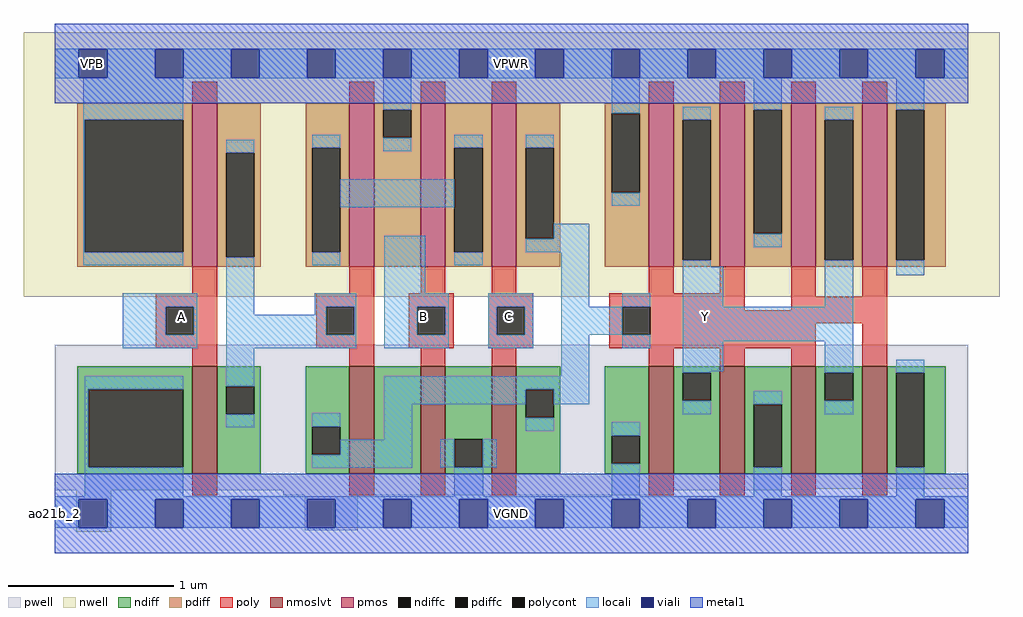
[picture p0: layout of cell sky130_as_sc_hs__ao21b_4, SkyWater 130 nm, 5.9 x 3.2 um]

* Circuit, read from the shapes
.subckt sky130_as_sc_hs__ao21b_4 VNB VPB VPWR VGND A B C Y
XM1 n1 A VGND VNB sky130_fd_pr__nfet_01v8_lvt w=0.65 l=0.15
XM2 n2 n1 n3 VNB sky130_fd_pr__nfet_01v8_lvt w=0.65 l=0.15
XM3 VGND B n2 VNB sky130_fd_pr__nfet_01v8_lvt w=0.65 l=0.15
XM4 n3 C VGND VNB sky130_fd_pr__nfet_01v8_lvt w=0.65 l=0.15
XM5 Y n3 VGND VNB sky130_fd_pr__nfet_01v8_lvt w=0.65 l=0.15 m=4
XM6 n1 A VPWR VPB sky130_fd_pr__pfet_01v8 w=0.99 l=0.15
XM7 VPWR n1 n4 VPB sky130_fd_pr__pfet_01v8 w=0.99 l=0.15
XM8 n4 B VPWR VPB sky130_fd_pr__pfet_01v8 w=0.99 l=0.15
XM9 n3 C n4 VPB sky130_fd_pr__pfet_01v8 w=0.99 l=0.15
XM10 Y n3 VPWR VPB sky130_fd_pr__pfet_01v8 w=0.99 l=0.15 m=4
.ends

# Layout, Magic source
magic
tech sky130A
magscale 1 2
<< nwell >>
rect -38 262 1142 582
<< pwell >>
rect 0 30 1104 204
rect 0 28 920 30
rect 26 -22 68 28
rect 276 22 736 28
rect 302 -20 366 22
<< pmos >>
rect 166 298 196 496
rect 356 298 386 496
rect 442 298 472 496
rect 528 298 558 496
rect 718 298 748 496
rect 804 298 834 496
rect 890 298 920 496
rect 976 298 1006 496
<< nmoslvt >>
rect 166 48 196 178
rect 356 48 386 178
rect 442 48 472 178
rect 528 48 558 178
rect 718 48 748 178
rect 804 48 834 178
rect 890 48 920 178
rect 976 48 1006 178
<< ndiff >>
rect 27 150 166 178
rect 27 56 40 150
rect 155 56 166 150
rect 27 48 166 56
rect 196 154 249 178
rect 196 120 207 154
rect 241 120 249 154
rect 196 48 249 120
rect 303 105 356 178
rect 303 71 311 105
rect 345 71 356 105
rect 303 48 356 71
rect 386 48 442 178
rect 472 90 528 178
rect 472 56 483 90
rect 517 56 528 90
rect 472 48 528 56
rect 558 150 611 178
rect 558 116 569 150
rect 603 116 611 150
rect 558 48 611 116
rect 665 94 718 178
rect 665 60 673 94
rect 707 60 718 94
rect 665 48 718 60
rect 748 170 804 178
rect 748 136 759 170
rect 793 136 804 170
rect 748 48 804 136
rect 834 132 890 178
rect 834 56 845 132
rect 879 56 890 132
rect 834 48 890 56
rect 920 170 976 178
rect 920 136 931 170
rect 965 136 976 170
rect 920 48 976 136
rect 1006 170 1077 178
rect 1006 56 1017 170
rect 1051 56 1077 170
rect 1006 48 1077 56
<< pdiff >>
rect 27 476 166 496
rect 27 316 36 476
rect 155 316 166 476
rect 27 298 166 316
rect 196 436 249 496
rect 196 310 207 436
rect 241 310 249 436
rect 196 298 249 310
rect 303 442 356 496
rect 303 316 311 442
rect 345 316 356 442
rect 303 298 356 316
rect 386 488 442 496
rect 386 454 397 488
rect 431 454 442 488
rect 386 298 442 454
rect 472 442 528 496
rect 472 316 483 442
rect 517 316 528 442
rect 472 298 528 316
rect 558 442 611 496
rect 558 332 569 442
rect 603 332 611 442
rect 558 298 611 332
rect 665 484 718 496
rect 665 388 673 484
rect 707 388 718 484
rect 665 298 718 388
rect 748 476 804 496
rect 748 306 759 476
rect 793 306 804 476
rect 748 298 804 306
rect 834 488 890 496
rect 834 338 845 488
rect 879 338 890 488
rect 834 298 890 338
rect 920 476 976 496
rect 920 306 931 476
rect 965 306 976 476
rect 920 298 976 306
rect 1006 488 1077 496
rect 1006 306 1017 488
rect 1051 306 1077 488
rect 1006 298 1077 306
<< ndiffc >>
rect 40 56 155 150
rect 207 120 241 154
rect 311 71 345 105
rect 483 56 517 90
rect 569 116 603 150
rect 673 60 707 94
rect 759 136 793 170
rect 845 56 879 132
rect 931 136 965 170
rect 1017 56 1051 170
<< pdiffc >>
rect 36 316 155 476
rect 207 310 241 436
rect 311 316 345 442
rect 397 454 431 488
rect 483 316 517 442
rect 569 332 603 442
rect 673 388 707 484
rect 759 306 793 476
rect 845 338 879 488
rect 931 306 965 476
rect 1017 306 1051 488
<< poly >>
rect 166 496 196 522
rect 356 496 386 522
rect 442 496 472 522
rect 528 496 558 522
rect 718 496 748 522
rect 804 496 834 522
rect 890 496 920 522
rect 976 496 1006 522
rect 166 266 196 298
rect 356 266 386 298
rect 442 266 472 298
rect 528 266 558 298
rect 718 266 748 298
rect 804 266 834 298
rect 122 250 196 266
rect 122 216 134 250
rect 168 216 196 250
rect 122 200 196 216
rect 316 250 386 266
rect 316 216 328 250
rect 362 216 386 250
rect 316 200 386 216
rect 428 250 482 266
rect 428 216 438 250
rect 472 216 482 250
rect 428 200 482 216
rect 524 250 578 266
rect 524 216 534 250
rect 568 216 578 250
rect 524 200 578 216
rect 670 250 834 266
rect 670 216 686 250
rect 720 246 834 250
rect 890 262 920 298
rect 976 262 1006 298
rect 890 246 1006 262
rect 720 230 1006 246
rect 720 216 920 230
rect 670 200 920 216
rect 166 178 196 200
rect 356 178 386 200
rect 442 178 472 200
rect 528 178 558 200
rect 718 178 748 200
rect 804 178 834 200
rect 890 178 920 200
rect 976 178 1006 230
rect 166 22 196 48
rect 356 22 386 48
rect 442 22 472 48
rect 528 22 558 48
rect 718 22 748 48
rect 804 22 834 48
rect 890 22 920 48
rect 976 22 1006 48
<< polycont >>
rect 134 216 168 250
rect 328 216 362 250
rect 438 216 472 250
rect 534 216 568 250
rect 686 216 720 250
<< locali >>
rect 0 561 1104 562
rect 0 527 29 561
rect 63 527 121 561
rect 155 527 213 561
rect 247 527 305 561
rect 339 527 397 561
rect 431 527 489 561
rect 523 527 581 561
rect 615 527 673 561
rect 707 527 765 561
rect 799 527 857 561
rect 891 527 949 561
rect 983 527 1041 561
rect 1075 527 1104 561
rect 0 526 1104 527
rect 34 476 155 526
rect 34 316 36 476
rect 397 488 431 526
rect 34 300 155 316
rect 207 436 241 452
rect 82 250 172 266
rect 82 216 134 250
rect 168 216 172 250
rect 82 200 172 216
rect 207 240 241 310
rect 311 442 345 458
rect 673 484 707 526
rect 397 438 431 454
rect 483 442 517 458
rect 345 370 483 404
rect 311 300 345 316
rect 398 266 448 336
rect 569 442 603 458
rect 673 372 707 388
rect 759 476 793 492
rect 603 332 646 350
rect 569 316 646 332
rect 483 300 517 316
rect 314 250 364 266
rect 314 240 328 250
rect 207 216 328 240
rect 362 216 364 250
rect 207 200 364 216
rect 398 250 476 266
rect 398 216 438 250
rect 472 216 476 250
rect 398 200 476 216
rect 524 250 578 266
rect 524 216 534 250
rect 568 216 578 250
rect 524 200 578 216
rect 612 250 646 316
rect 845 488 879 526
rect 845 322 879 338
rect 931 476 965 492
rect 759 298 793 306
rect 686 250 720 266
rect 612 216 686 250
rect 36 150 155 166
rect 36 56 40 150
rect 207 154 241 200
rect 612 166 646 216
rect 686 200 720 216
rect 759 250 808 298
rect 931 250 965 306
rect 1017 488 1051 526
rect 1017 288 1051 306
rect 759 208 965 250
rect 398 150 646 166
rect 398 132 569 150
rect 207 104 241 120
rect 311 105 345 121
rect 36 21 155 56
rect 398 89 432 132
rect 603 132 646 150
rect 759 172 808 208
rect 759 170 793 172
rect 931 170 965 208
rect 759 120 793 136
rect 845 132 879 148
rect 569 100 603 116
rect 673 94 707 110
rect 345 71 432 89
rect 311 55 432 71
rect 466 56 483 90
rect 517 56 534 90
rect 483 21 518 56
rect 673 21 707 60
rect 931 120 965 136
rect 1017 170 1051 186
rect 845 21 879 56
rect 1017 21 1051 56
rect 0 17 1104 21
rect 0 -17 29 17
rect 63 -17 121 17
rect 155 -17 213 17
rect 247 -17 305 17
rect 339 -17 397 17
rect 431 -17 489 17
rect 523 -17 581 17
rect 615 -17 673 17
rect 707 -17 765 17
rect 799 -17 857 17
rect 891 -17 949 17
rect 983 -17 1041 17
rect 1075 -17 1104 17
<< viali >>
rect 29 527 63 561
rect 121 527 155 561
rect 213 527 247 561
rect 305 527 339 561
rect 397 527 431 561
rect 489 527 523 561
rect 581 527 615 561
rect 673 527 707 561
rect 765 527 799 561
rect 857 527 891 561
rect 949 527 983 561
rect 1041 527 1075 561
rect 29 -17 63 17
rect 121 -17 155 17
rect 213 -17 247 17
rect 305 -17 339 17
rect 397 -17 431 17
rect 489 -17 523 17
rect 581 -17 615 17
rect 673 -17 707 17
rect 765 -17 799 17
rect 857 -17 891 17
rect 949 -17 983 17
rect 1041 -17 1075 17
<< metal1 >>
rect 0 561 1104 592
rect 0 527 29 561
rect 63 527 121 561
rect 155 527 213 561
rect 247 527 305 561
rect 339 527 397 561
rect 431 527 489 561
rect 523 527 581 561
rect 615 527 673 561
rect 707 527 765 561
rect 799 527 857 561
rect 891 527 949 561
rect 983 527 1041 561
rect 1075 527 1104 561
rect 0 496 1104 527
rect 0 17 1104 48
rect 0 -17 29 17
rect 63 -17 121 17
rect 155 -17 213 17
rect 247 -17 305 17
rect 339 -17 397 17
rect 431 -17 489 17
rect 523 -17 581 17
rect 615 -17 673 17
rect 707 -17 765 17
rect 799 -17 857 17
rect 891 -17 949 17
rect 983 -17 1041 17
rect 1075 -17 1104 17
rect 0 -48 1104 -17
<< labels >>
rlabel comment s 0 0 0 0 4 ao21b_2
flabel pwell s 29 -17 63 17 0 FreeSans 200 0 0 0 VNB
port 1 nsew ground bidirectional
flabel pwell s 46 0 46 0 0 FreeSans 200 0 0 0 VNB
flabel nwell s 29 527 63 561 0 FreeSans 200 0 0 0 VPB
port 2 nsew power bidirectional
flabel nwell s 46 544 46 544 0 FreeSans 200 0 0 0 VPB
flabel metal1 s 29 527 63 561 0 FreeSans 200 0 0 0 VPWR
port 3 nsew power bidirectional abutment
flabel metal1 s 29 -17 63 17 0 FreeSans 200 0 0 0 VGND
port 4 nsew ground bidirectional abutment
rlabel metal1 s 0 -48 1104 48 1 VGND
port 4 nsew ground bidirectional abutment
rlabel metal1 s 0 496 1104 592 1 VPWR
port 3 nsew power bidirectional abutment
flabel locali 136 221 170 255 0 FreeSans 200 0 0 0 A
port 5 nsew signal input
flabel locali 153 238 153 238 0 FreeSans 200 0 0 0 A
flabel locali s 429 221 463 255 0 FreeSans 200 0 0 0 B
port 6 nsew signal input
flabel locali s 446 238 446 238 0 FreeSans 200 0 0 0 B
flabel locali s 531 221 565 255 0 FreeSans 200 0 0 0 C
port 7 nsew signal input
flabel locali s 548 238 548 238 0 FreeSans 200 0 0 0 C
flabel locali s 769 221 803 255 0 FreeSans 200 0 0 0 Y
port 8 nsew signal output
flabel locali s 786 238 786 238 0 FreeSans 200 0 0 0 Y
<< properties >>
string FIXED_BBOX 0 0 1104 544
string GDS_FILE $PDKPATH/libs.ref/sky130_as_sc_hs/gds/sky130_as_sc_hs__ao21b_2.gds
string LEFclass CORE
string LEFsite unithd
string LEFsymmetry X Y R90
string MASKHINTS_LVTN 0 -4 1104 220
string MASKHINTS_NSDM 0 -38 1104 209
string MASKHINTS_PSDM 0 273 1104 582
<< end >>
